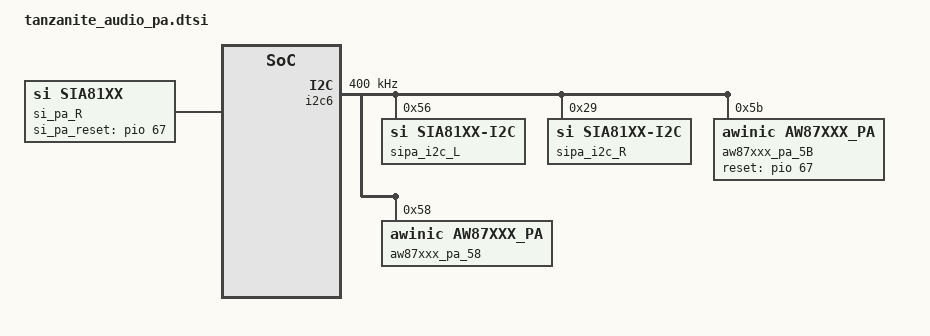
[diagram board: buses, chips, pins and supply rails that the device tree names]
/* Copyright (c) 2018, The Linux Foundation. All rights reserved.
 *
 * This program is free software; you can redistribute it and/or modify
 * it under the terms of the GNU General Public License version 2 and
 * only version 2 as published by the Free Software Foundation.
 *
 * This program is distributed in the hope that it will be useful,
 * but WITHOUT ANY WARRANTY; without even the implied warranty of
 * MERCHANTABILITY or FITNESS FOR A PARTICULAR PURPOSE.  See the
 * GNU General Public License for more details.
 */


&pio {
	sia81xx_gpio_R: sia81xx_gpio_R {
		pins_cmd_dat {
			pinmux = <PINMUX_GPIO67__FUNC_GPIO67>;
			slew-rate = <1>;
			bias-disable;
		};
	};
};

&odm {
	si_pa_L: si_pa_L{
		compatible = "si,sia81xx";
		si,si_pa_type = "sia8152x";
		si,si_pa_disable_pin = <1>;
		channel_num = <0>;
	};

	si_pa_R: si_pa_R{
		compatible = "si,sia81xx";
		si,si_pa_type = "sia81x9";
		si,si_pa_reset = <&pio 67 0>;
		pinctrl-names = "si_pa_gpio";
		pinctrl-0 = <&sia81xx_gpio_R>;
		si,si_pa_disable_pin = <0>;
		channel_num = <1>;
	};
};

&sound {
	si,sia81xx-max-num = <2>;
	si,sia81xx-aux-devs = <&si_pa_L>, <&si_pa_R>;
	si,sia81xx-aux-devs-prefix = "SpkrLeft", "SpkrRight";
};

&i2c6 {
	clock-frequency = <400000>;
	mediatek,use-open-drain;

	sipa_i2c_L: sipa_i2c_L@56{
		compatible = "si,sia81xx-i2c";
		reg = <0x56>;
		si,sipa-dev = <&si_pa_L>;
		si,sipa-addr_offset = <2>;
		status = "okay";
	};
	sipa_i2c_R: sipa_i2c_R@29{
		compatible = "si,sia81xx-i2c";
		reg = <0x29>;
		si,sipa-dev = <&si_pa_R>;
		status = "okay";
	};

	aw87xxx_pa_5B@5B {
		compatible = "awinic,aw87xxx_pa";
		reg = <0x5B>;
		reset-gpio = <&pio 67 0>;
		dev_index = < 1 >;
		status = "okay";
	};
	aw87xxx_pa_58@58 {
		compatible = "awinic,aw87xxx_pa";
		reg = <0x58>;
		dev_index = < 0 >;
		status = "okay";
	};
};
